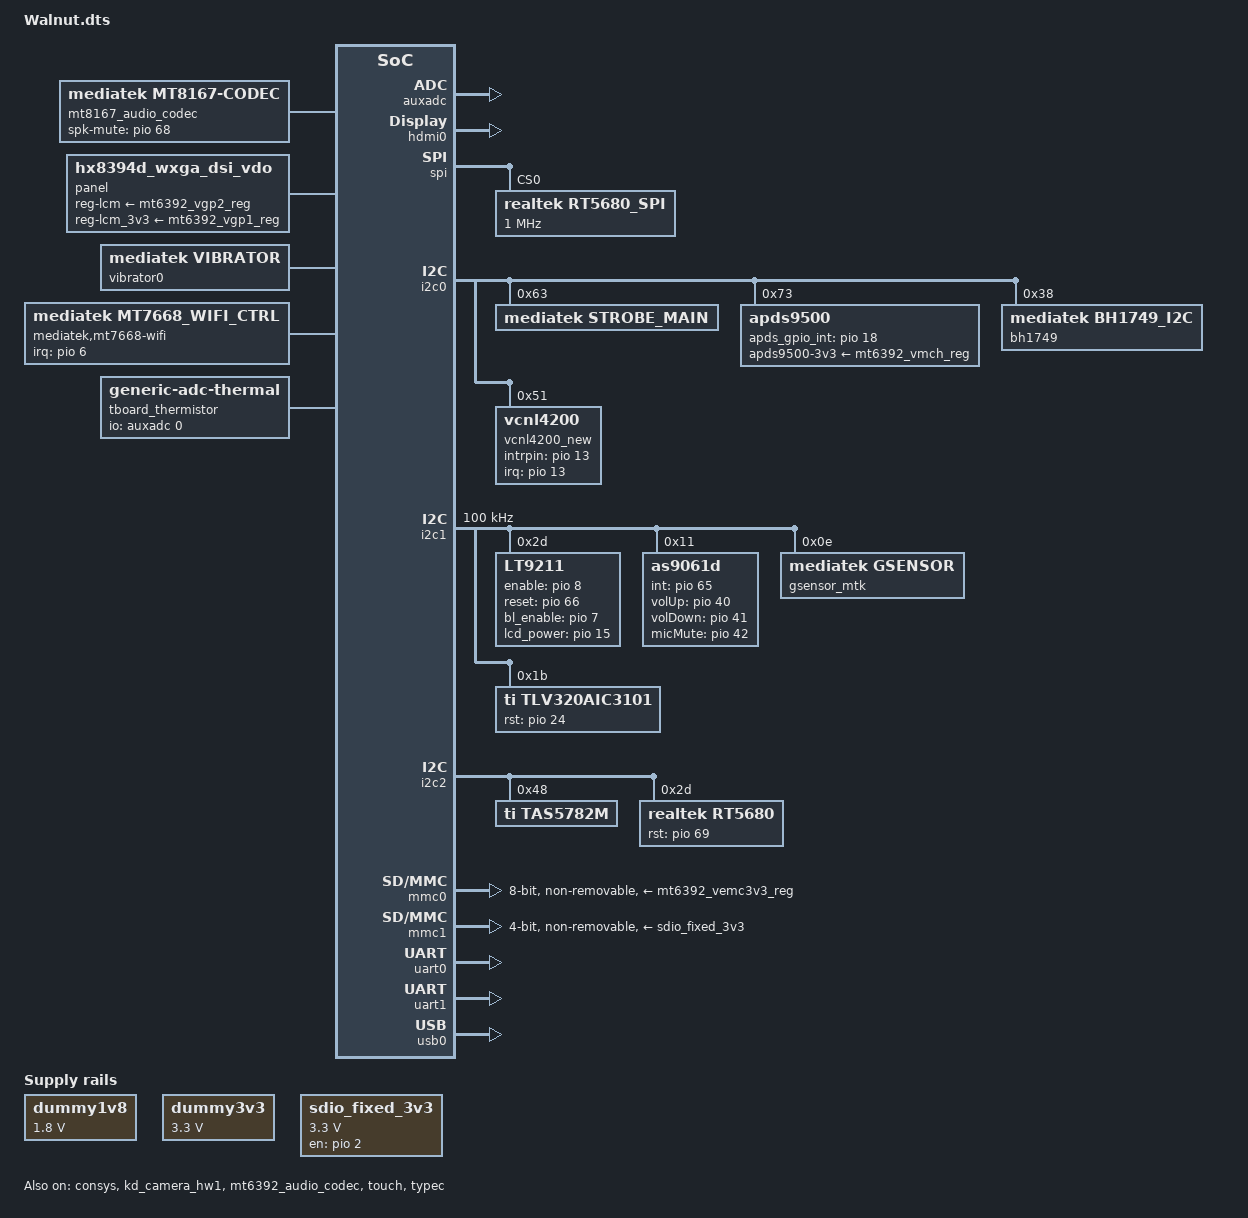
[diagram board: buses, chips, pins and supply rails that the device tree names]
/*
 * Copyright (c) 2014-2015 MediaTek Inc.
 *
 * This program is free software; you can redistribute it and/or modify
 * it under the terms of the GNU General Public License version 2 as
 * published by the Free Software Foundation.
 *
 * This program is distributed in the hope that it will be useful,
 * MERCHANTABILITY or FITNESS FOR A PARTICULAR PURPOSE.  See the
 * GNU General Public License for more details.
 */

#include <generated/autoconf.h>
/dts-v1/;

/plugin/;
#include <dt-bindings/clock/mt8167-clk.h>
#include <dt-bindings/interrupt-controller/irq.h>
#include <dt-bindings/interrupt-controller/arm-gic.h>
#include "mt8167-pinfunc.h"
#include "bat_setting/Walnut_bat_setting.dtsi"
#include <dt-bindings/gpio/gpio.h>
#define ROOT_NODE &odm

ROOT_NODE {
	dummy1v8: fixedregulator@0 {
		compatible = "regulator-fixed";
		regulator-name = "mmc_io";
		regulator-min-microvolt = <1800000>;
		regulator-max-microvolt = <1800000>;
		regulator-always-on;
	};

	dummy3v3: fixedregulator@1 {
		compatible = "regulator-fixed";
		regulator-name = "mmc_power";
		regulator-min-microvolt = <3300000>;
		regulator-max-microvolt = <3300000>;
		regulator-always-on;
	};

	sdio_fixed_3v3: fixedregulator@2 {
		compatible = "regulator-fixed";
		regulator-name = "sdio_fixed_3v3";
		regulator-min-microvolt = <3300000>;
		regulator-max-microvolt = <3300000>;
		gpio = <&pio 2 GPIO_ACTIVE_HIGH>;
		enable-active-high;
		startup-delay-us = <500000>;
	};

	mtcpufreq {
		compatible = "mediatek,mt8167-cpufreq";
	};

	mt8167_audio_codec: mt8167_audio_codec {
		compatible = "mediatek,mt8167-codec";
		clocks = <&topckgen CLK_TOP_AUDIO>;
		clock-names = "bus";
		mediatek,afe-regmap = <&afe>;
		mediatek,apmixedsys-regmap = <&apmixedsys>;
		mediatek,pwrap-regmap = <&pwrap>;
		mediatek,speaker-mode = <0>; /* 0(CLASSD) 1(CLASSAB) */
		mediatek,dmic-wire-mode = <1>;
		/* 0(ONE_WIRE) 1(TWO_WIRE) */
		mediatek,headphone-cap-sel = <1>;/* 0(10UF) 1(22UF) 2(33UF) 3(47UF) */
		spk-mute = <&pio 68 0>;
	};

	panel: panel@0 {
		compatible = "hx8394d_wxga_dsi_vdo";
		reg-lcm-supply = <&mt6392_vgp2_reg>;
		reg-lcm_3v3-supply = <&mt6392_vgp1_reg>;
		status = "okay";
	};

	sound: sound {
		compatible = "mediatek,mt8167s-som";
		mediatek,platform = <&afe>;
		pinctrl-names = "default";
		pinctrl-0 = <&aud_pins_default>;
		tdmadc-1p8v-supply = <&mt6392_vcn18_reg>;
		tdmadc-3p3v-supply = <&mt6392_vmch_reg>;
		mediatek,audio-codec = <&tas5782m>;
		status = "okay";
	};

	vibrator0:vibrator@0 {
		compatible = "mediatek,vibrator";
		vib_timer = <25>;
		vib_limit = <9>;
		vib_vol= <5>;
	};

	/* WiFi */
	mediatek,mt7668-wifi {
		compatible = "mediatek,mt7668_wifi_ctrl";
		interrupt-parent = <&pio>;
		interrupts = <6 IRQ_TYPE_EDGE_FALLING>, /* WOW IRQ */
			<5 IRQ_TYPE_EDGE_FALLING>; /* BEACON TSF IRQ */
		status = "okay";
	};

	tboard_thermistor: thermal-sensor {
		compatible = "generic-adc-thermal";
		#thermal-sensor-cells = <0>;
		io-channels = <&auxadc 0>;
		io-channel-names = "sensor-channel";
	};
};

&afe {
	/* 0(HDMI) 1(I2S) 2(TDM) */
	mediatek,tdm-out-mode = <0>;
	/*0(Spearated Mode) 1(Share Mode)*/
	mediatek,i2s-clock-modes = <1 1>;
	/*overwrite original sram layout*/
	reg = <0 0x11140000 0 0x1000>,
	      <0 0x11141000 0 0x9000>,
	      <0 0x100000 0 0xdc00>;
};

&auxadc {
	status = "okay";
};

&bat_comm {
	interrupt-parent = <&pmic>;
	interrupts = <10 IRQ_TYPE_LEVEL_HIGH>;
};

&consys {
	pinctrl-names = "default", "gps_lna_state_init",
		"gps_lna_state_oh", "gps_lna_state_ol";
	pinctrl-0 = <&consys_pins_default>;
	pinctrl-1 = <&gpslna_pins_init>;
	pinctrl-2 = <&gpslna_pins_oh>;
	pinctrl-3 = <&gpslna_pins_ol>;
	vcn18-supply = <&mt6392_vcn18_reg>;
	vcn35-supply = <&mt6392_vcn35_reg>;
	status = "okay";
};

&cpu0 {
	proc-supply = <&mt6392_vproc_reg>;
};

&cpu1 {
	proc-supply = <&mt6392_vproc_reg>;
};

&cpu2 {
	proc-supply = <&mt6392_vproc_reg>;
};

&cpu3 {
	proc-supply = <&mt6392_vproc_reg>;
};

&hdmi0 {
	pinctrl-names = "default", "hdmi_hpd";
	pinctrl-0 = <&hdmi_pins_default>;
	pinctrl-1 = <&hdmi_pins_hpd>;
	status = "okay";
};

&spi{
	status = "okay";
	
	rt5680_spi@0{   
		compatible = "realtek,rt5680_spi";
		reg = <0>;
		status = "okay";
		spi-max-frequency = <1000000>;
		pinctrl-names = "default";
		pinctrl-0 = <&spi_pins_default>;
	};
};

&i2c0 {
	pinctrl-names = "default";
	pinctrl-0 = <&i2c0_pins_a>;
	status = "okay";

	cap_touch@5d {
		compatible = "mediatek,cap_touch";
		reg = <0x5d>;
		status = "disabled";
		interrupt-parent = <&pio>;
		interrupts = <8 IRQ_TYPE_EDGE_FALLING>;
		int-gpio = <&pio 8 0>;
		rst-gpio = <&pio 9 0>;
	};

	strobe_main@63 {
		compatible = "mediatek,strobe_main";
		reg = <0x63>;
	};
	
	apds9500@73 {
		compatible = "apds9500";
		reg = <0x73>;
		apds_gpio_int = <&pio 18 0>;
		pinctrl-names = "default";
		pinctrl-0 = <&apds9500_int>;
		apds9500-3v3-supply = <&mt6392_vmch_reg>;
	};
	
	bh1749@38{
		compatible = "mediatek,bh1749_i2c";
		reg = <0x38>;
	};
/*	
	vcnl4200@51 {
		compatible = "vcnl4200";
		reg = <0x51>;
		interrupt-parent = <&pio>;
		interrupts = <13 IRQ_TYPE_EDGE_FALLING>;     
		capella,intrpin-gpios = <&pio 13 0>;
		capella,slave_address = <0x51>;
		pinctrl-names = "default";
		pinctrl-0 = <&vcnl4200_int>;

		als_level = <0 328 861 1377 3125 7721 7767 12621 23062 28430 33274 47116 57694 57694 65535>;
		als_value = <0 133 304 502 1004 2005 3058 5005 8008 10010 12000 16000 20000 20000 20000 20000>;
		ps_threshold_high = <26>;
		ps_threshold_low = <21>;
		is_batch_supported_ps = <0>;
		is_batch_supported_als = <0>;
	};
*/
	vcnl4200_new@51{
		compatible = "vcnl4200";
		reg = <0x51>;
		interrupt-parent = <&pio>;
		interrupts = <13 IRQ_TYPE_EDGE_FALLING>;     
		capella,intrpin-gpios = <&pio 13 0>;
		capella,slave_address = <0x51>;
		pinctrl-names = "default";
		pinctrl-0 = <&vcnl4200_int>;

		als_level = <0 328 861 1377 3125 7721 7767 12621 23062 28430 33274 47116 57694 57694 65535>;
		als_value = <0 133 304 502 1004 2005 3058 5005 8008 10010 12000 16000 20000 20000 20000 20000>;
		ps_threshold_high = <26>;
		ps_threshold_low = <21>;
		is_batch_supported_ps = <0>;
		is_batch_supported_als = <0>;
	};

};

&i2c1 {
	pinctrl-names = "default";
	pinctrl-0 = <&i2c1_pins_a>;
	status = "okay";
	clock-frequency = <100000>;
	
	LT9211@0x2d{
		compatible = "LT9211";
		reg = <0x2d>;
		enable_gpio = <&pio 8 0>;
		reset_gpio = <&pio 66 0>;
		bl_enable = <&pio 7 0>;
		lcd_power = <&pio 15 0>;
	};
	
	as9061d@11{
		compatible = "as9061d";
		reg = <0x11>;
		int-gpio      = <&pio 65 0>;
		volUp-gpio    = <&pio 40 0>;
		volDown-gpio  = <&pio 41 0>;
		micMute-gpio  = <&pio 42 0>;
		pinctrl-names = "default","key_volUp","key_volDown","key_micMute";
		pinctrl-0 = <&as9061d_pins_int>;
		pinctrl-1 = <&as9061d_pins_volUp>;
		pinctrl-2 = <&as9061d_pins_volDown>;
		pinctrl-3 = <&as9061d_pins_micMute>;
	};
	
	kd_camera_hw1@36 {
		compatible = "mediatek,camera_main";
		reg = <0x36>;
		status = "disabled";
	};

	kd_camera_hw2@10 {
		compatible = "mediatek,camera_sub";
		reg = <0x10>;
		status = "disabled";
	};

	 camera_main_af@0c {
		compatible = "mediatek,CAMERA_MAIN_AF";
		reg = <0x0c>;
		status = "disabled";
	};

	gsensor_mtk: gsensor@0e {
		compatible = "mediatek,gsensor";
		reg = <0x0e>;
		i2c_num	= <1>;
		i2c_addr = <0x0e 0 0 0>;
		direction = <1>;
		power_id = <0xffff>;
		power_vol = <0>;
		firlen = <0>;
		is_batch_supported = <0>;
	};

	tlv320aic3101@1b{
		compatible = "ti,tlv320aic3101";
		reg = <0x1b>;
		rst-gpio = <&pio 24 0>;
	};
};

&i2c2 {
	pinctrl-names = "default";
	pinctrl-0 = <&i2c2_pins_a>;
	status = "okay";

	tas5782m: tas5782m@48 {
		compatible = "ti,tas5782m";
		reg = <0x48>;
		//rst_gpio = <&pio 107 0>;
		//power_gpio = <&pio 108 0>;
	};
	
	rt5680:rt5680@2d{   
		compatible = "realtek,rt5680";
		reg = <0x2d>;
		rst-gpio = <&pio 69 0>;
	};
};

/* Main Cam */
&kd_camera_hw1 {
	reg-vcama-supply = <&mt6392_vcama_reg>;		/* AVDD */
	reg-vcamd-supply = <&mt6392_vcamd_reg>;		/* DVDD */
	reg-vcamio-supply = <&mt6392_vcamio_reg>;	/* DOVDD */
	reg-vcamaf-supply = <&mt6392_vcamaf_reg>;	/* AFVDD */

	pinctrl-names = "default",
		"cam_mclk", "cam_gpio84", "cam_gpio85",
		"cam_gpio86", "cam_gpio87", "cam_gpio88",  "cam_gpio89";

	pinctrl-0 = <&camera_pins_default>;
	pinctrl-1 = <&camera_pins_cam_mclk>;
	pinctrl-2 = <&camera_pins_gpio84>;
	pinctrl-3 = <&camera_pins_gpio85>;
	pinctrl-4 = <&camera_pins_gpio86>;
	pinctrl-5 = <&camera_pins_gpio87>;
	pinctrl-6 = <&camera_pins_gpio88>;
	pinctrl-7 = <&camera_pins_gpio89>;

	cam0_rst = <&pio 10 0>;
	cam0_pdn = <&pio 7 0>;
	cam1_rst = <&pio 10 0>;
	cam1_pdn = <&pio 7 0>;
	status = "okay";
};

/* Sub Cam */
/* Same power pins as Main, actually, it can be commented */
&kd_camera_hw2 {
	reg-vcama-supply = <&mt6392_vcama_reg>;		/* AVDD */
	reg-vcamd-supply = <&mt6392_vcamd_reg>;		/* DVDD */
	reg-vcamio-supply = <&mt6392_vcamio_reg>;	/* DOVDD */
	reg-vcamaf-supply = <&mt6392_vcamaf_reg>;	/* AFVDD */
};

&keypad {
	pinctrl-names = "default";
	pinctrl-0 = <&kpd_pins_default>;
	status = "disabled";
	mediatek,kpd-key-debounce = <1024>;
	mediatek,kpd-sw-pwrkey = <116>;
	mediatek,kpd-hw-pwrkey = <8>;
	mediatek,kpd-sw-rstkey  = <0>;
	mediatek,kpd-hw-rstkey = <17>;
	mediatek,kpd-use-extend-type = <0>;
	/*HW Keycode [0~71] -> Linux Keycode*/
	mediatek,kpd-hw-map-num = <72>;
	mediatek,kpd-hw-init-map = <115 50 0 0 0 0 0 0 0 30 164
		0 0 0 0 0 0 0 0 0 0 0 0 0 0 0 0 0 0 0 0 0 0 0 0 0 0
		0 0 0 0 0 0 0 0 0 0 0 0 0 0 0 0 0 0 0 0 0 0 0 0 0 0
		0 0 0 0 0 0 0 0 0 >;
	mediatek,kpd-pwrkey-eint-gpio = <0>;
	mediatek,kpd-pwkey-gpio-din  = <0>;
	mediatek,kpd-hw-dl-key0 = <0>;
	mediatek,kpd-hw-dl-key1 = <17>;
	mediatek,kpd-hw-dl-key2 = <8>;
	mediatek,kpd-hw-recovery-key = <17>;
	mediatek,kpd-hw-factory-key  = <0>;
};

&led6 {
	ate_gpio = <&pio 43 0>;
};

&mmc0 {
	pinctrl-names = "default", "state_uhs";
	pinctrl-0 = <&mmc0_pins_default>;
	pinctrl-1 = <&mmc0_pins_uhs>;
	status = "okay";
	bus-width = <8>;
	max-frequency = <200000000>;
	cap-mmc-highspeed;
	mmc-hs200-1_8v;
	cap-mmc-hw-reset;
	vmmc-supply = <&mt6392_vemc3v3_reg>;
	vqmmc-supply = <&mt6392_vio18_reg>;
	non-removable;
};

&mmc1 {
	compatible = "mediatek,mt8167-sdio";
	pinctrl-names = "state_eint", "default",
		"state_uhs", "state_dat1";
	pinctrl-0 = <&mmc1_pins_eint>;
	pinctrl-1 = <&mmc1_pins_default>;
	pinctrl-2 = <&mmc1_pins_uhs>;
	pinctrl-3 = <&mmc1_pins_dat1>;
	eint-gpios = <&pio 107 0>;
	status = "okay";
	bus-width = <4>;
	max-frequency = <200000000>;
	cap-sd-highspeed;
	sd-uhs-sdr50;
	sd-uhs-sdr104;
	keep-power-in-suspend;
	enable-sdio-wakeup;
	vmmc-supply = <&sdio_fixed_3v3>;
	vqmmc-supply = <&mt6392_vcn18_reg>;
	cap-sdio-irq;
	non-removable;
	//mt76x8_pmu_en_gpio = <&pio 2 0>;
	//mt76x8_pmu_en_delay = <5>; /* ms */
};


&mmc2 {
	pinctrl-names = "state_eint", "default",
		"state_uhs", "state_dat1";
	pinctrl-0 = <&mmc2_pins_eint>;
	pinctrl-1 = <&mmc2_pins_default>;
	pinctrl-2 = <&mmc2_pins_uhs>;
	pinctrl-3 = <&mmc2_pins_dat1>;
	eint-gpios = <&pio 71 0>;
	status = "disabled";
	bus-width = <4>;
	max-frequency = <200000000>;
	cap-sd-highspeed;
	sd-uhs-sdr50;
	sd-uhs-sdr104;
	keep-power-in-suspend;
	enable-sdio-wakeup;
	vmmc-supply = <&sdio_fixed_3v3>;
	cap-sdio-irq;
	non-removable;
	mt76x8_pmu_en_gpio = <&pio 2 0>;
	mt76x8_pmu_en_delay = <5>; /* ms */
};

&mt6392_audio_codec {
	mediatek,speaker-mode = <0>; /* 0(CLASSD) 1(CLASSAB) */
	status = "okay";
};

&mt6392_vm_reg {
	regulator-always-on;
	regulator-boot-on;
};

&pio {
	pinctrl-names = "default";
	pinctrl-0 = <&state_default>;

	state_default:pinconf_default {
	};

	aud_pins_default: audiodefault {
		pins_cmd_dat {
			pinmux = <MT8167_PIN_25_EINT25__FUNC_I2S_8CH_MCK>,
				 <MT8167_PIN_71_MSDC2_DAT1__FUNC_I2S_8CH_DO1>, 
				 <MT8167_PIN_72_MSDC2_DAT2__FUNC_I2S_8CH_LRCK>, 
				 <MT8167_PIN_73_MSDC2_DAT3__FUNC_I2S_8CH_BCK>, 
				 <MT8167_PIN_20_EINT20__FUNC_I2S3_DO>,
                                 <MT8167_PIN_36_MRG_CLK__FUNC_I2S0_BCK>,
                                 <MT8167_PIN_37_MRG_SYNC__FUNC_I2S0_LRCK>,
                                 <MT8167_PIN_38_MRG_DI__FUNC_I2S0_DI>,
                                 <MT8167_PIN_39_MRG_DO__FUNC_I2S0_MCK>,
				 <MT8167_PIN_1_EINT1__FUNC_I2S2_DI>;
				 drive-strength = <MTK_DRIVE_4mA>;
		};
	};
	
	spi_pins_default: rt5680default {
		pins_cmd_dat {
			pinmux = <MT8167_PIN_48_SPI_CS__FUNC_SPI_CSB>,
				 <MT8167_PIN_49_SPI_CK__FUNC_SPI_CLK>, 
				 <MT8167_PIN_50_SPI_MI__FUNC_SPI_MI>, 
				 <MT8167_PIN_51_SPI_MO__FUNC_SPI_MO>;	 
		};
	};

	/* CAMERA GPIO standardization */
	/* default mode */
	camera_pins_default: camdefault {
		pins_cmd_dat {
			pinmux = <MT8167_PIN_84_RDN0__FUNC_RDN0>,
				<MT8167_PIN_85_RDP0__FUNC_RDP0>,
				<MT8167_PIN_86_RDN1__FUNC_RDN1>,
				<MT8167_PIN_87_RDP1__FUNC_RDP1>,
				<MT8167_PIN_88_RCN__FUNC_RCN>,
				<MT8167_PIN_89_RCP__FUNC_RCP>;
		};
	};

	camera_pins_cam_mclk: cam_pin_mclk {
		pins_cmd_dat {
			pinmux = <MT8167_PIN_102_CMMCLK__FUNC_CMMCLK>;
		};
	};

	camera_pins_gpio88: cam_pin_gpio88 {
		pins_cmd_dat {
			pinmux = <MT8167_PIN_88_RCN__FUNC_RCN>;
		};
	};

	camera_pins_gpio89: cam_pin_gpio89 {
		pins_cmd_dat {
			pinmux = <MT8167_PIN_89_RCP__FUNC_RCP>;
		};
	};

	camera_pins_gpio86: cam_pin_gpio86 {
		pins_cmd_dat {
			pinmux = <MT8167_PIN_86_RDN1__FUNC_RDN1>;
		};
	};

	camera_pins_gpio87: cam_pin_gpio87 {
		pins_cmd_dat {
			pinmux = <MT8167_PIN_87_RDP1__FUNC_RDP1>;
		};
	};

	camera_pins_gpio84: cam_pin_gpio84 {
		pins_cmd_dat {
			pinmux = <MT8167_PIN_84_RDN0__FUNC_RDN0>;
		};
	};

	camera_pins_gpio85: cam_pin_gpio85 {
		pins_cmd_dat {
			pinmux = <MT8167_PIN_85_RDP0__FUNC_RDP0>;
		};
	};

	/* CONSYS GPIO Settings - Start */
	consys_pins_default: default {

	};
	/* CONSYS GPIO Settings - End */

	CTP_pins_default: eint0default {
		pins_cmd_dat {
			pinmux = <MT8167_PIN_8_EINT8__FUNC_GPIO8>;
			slew-rate = <0>;
			bias-disable;
		};
	};

	CTP_pins_eint_as_int: eint@0 {
		pins_cmd_dat {
			pinmux = <MT8167_PIN_8_EINT8__FUNC_GPIO8>;
			slew-rate = <0>;
			bias-disable;
		};
	};

	CTP_pins_eint_output0: eintoutput0 {
		pins_cmd_dat {
			pinmux = <MT8167_PIN_8_EINT8__FUNC_GPIO8>;
			slew-rate = <1>;
			output-low;
		};
	};

	CTP_pins_eint_output1: eintoutput1 {
		pins_cmd_dat {
			pinmux = <MT8167_PIN_8_EINT8__FUNC_GPIO8>;
			slew-rate = <1>;
			output-high;
		};
	};

	CTP_pins_rst_output0: rstoutput0 {
		pins_cmd_dat {
			pinmux = <MT8167_PIN_9_EINT9__FUNC_GPIO9>;
			slew-rate = <1>;
			output-low;
		};
	};

	CTP_pins_rst_output1: rstoutput1 {
		pins_cmd_dat {
			pinmux = <MT8167_PIN_9_EINT9__FUNC_GPIO9>;
			slew-rate = <1>;
			output-high;
		};
	};

	/* CONSYS GPIO Settings - Start */
	gpslna_pins_init: gpslna@0 {
	};

	gpslna_pins_oh: gpslna@1 {
	};

	gpslna_pins_ol: gpslna@2 {
	};
	/* CONSYS GPIO Settings - End */

	hdmi_pins_default: hdmi_pins_default {
		pins_cmd_dat {
			pinmux = <MT8167_PIN_123_HDMISCK__FUNC_HDMISCK>,
				<MT8167_PIN_124_HDMISD__FUNC_HDMISD>;
		};
	};

	hdmi_pins_hpd: hdmi_pins_hpd {
		pins_cmd_dat {
			pinmux = <MT8167_PIN_122_HTPLG__FUNC_HTPLG>;
			slew-rate = <0>;
			bias-pull-down;
		};
	};

	i2c0_pins_a: i2c0@0 {
		pins1 {
			pinmux = <MT8167_PIN_58_SDA0__FUNC_SDA0_0>,
				 <MT8167_PIN_59_SCL0__FUNC_SCL0_0>;
			bias-disable;
		};
	};

	i2c1_pins_a: i2c1@0 {
		pins1 {
			pinmux = <MT8167_PIN_52_SDA1__FUNC_SDA1_0>,
				 <MT8167_PIN_53_SCL1__FUNC_SCL1_0>;
			bias-disable;
		};
	};

	i2c2_pins_a: i2c2@0 {
		pins1 {
			pinmux = <MT8167_PIN_60_SDA2__FUNC_SDA2_0>,
				 <MT8167_PIN_61_SCL2__FUNC_SCL2_0>;
			bias-disable;
		};
	};

	kpd_pins_default: kpddefault {
		pins_cols {
			pinmux = <MT8167_PIN_42_KPCOL0__FUNC_KPCOL0>,
				 <MT8167_PIN_43_KPCOL1__FUNC_KPCOL1>;
			input-enable;
			bias-pull-up = <MTK_PUPD_SET_R1R0_01>;
		};

		pins_rows {
			pinmux = <MT8167_PIN_40_KPROW0__FUNC_KPROW0>,
				 <MT8167_PIN_41_KPROW1__FUNC_KPROW1>;
			output-low;
			bias-disable;
		};
	};

	dpi_pins_default: dpi_pins_default {
		pins_cmd_dat {
			pinmux = <MT8167_PIN_0_EINT0__FUNC_DPI_CK>,
			<MT8167_PIN_24_EINT24__FUNC_DPI_DE>,
			<MT8167_PIN_25_EINT25__FUNC_DPI_VSYNC>,
			<MT8167_PIN_35_UTXD2__FUNC_DPI_HSYNC>,
			<MT8167_PIN_13_EINT13__FUNC_DPI_D0>,
			<MT8167_PIN_34_URXD2__FUNC_DPI_D5>,
			<MT8167_PIN_7_EINT7__FUNC_DPI_D6>,
			<MT8167_PIN_8_EINT8__FUNC_DPI_D7>,
			<MT8167_PIN_9_EINT9__FUNC_DPI_D8>,
			<MT8167_PIN_10_EINT10__FUNC_DPI_D9>,
			//<MT8167_PIN_11_EINT11__FUNC_DPI_D10>,
			<MT8167_PIN_12_EINT12__FUNC_DPI_D11>,
			<MT8167_PIN_1_EINT1__FUNC_DPI_D12>,
			//<MT8167_PIN_2_EINT2__FUNC_DPI_D13>,
			//<MT8167_PIN_3_EINT3__FUNC_DPI_D14>,
			<MT8167_PIN_4_EINT4__FUNC_DPI_D15>,
			<MT8167_PIN_5_EINT5__FUNC_DPI_D16>,
			<MT8167_PIN_6_EINT6__FUNC_DPI_D17>;
			drive-strength = <MTK_DRIVE_8mA>;
		};
	};

	mmc0_pins_default: mmc0default {
		pins_cmd_dat {
			pinmux = <MT8167_PIN_120_MSDC0_DAT0__FUNC_MSDC0_DAT0>,
				<MT8167_PIN_119_MSDC0_DAT1__FUNC_MSDC0_DAT1>,
				<MT8167_PIN_118_MSDC0_DAT2__FUNC_MSDC0_DAT2>,
				<MT8167_PIN_117_MSDC0_DAT3__FUNC_MSDC0_DAT3>,
				<MT8167_PIN_113_MSDC0_DAT4__FUNC_MSDC0_DAT4>,
				<MT8167_PIN_112_MSDC0_DAT5__FUNC_MSDC0_DAT5>,
				<MT8167_PIN_111_MSDC0_DAT6__FUNC_MSDC0_DAT6>,
				<MT8167_PIN_110_MSDC0_DAT7__FUNC_MSDC0_DAT7>,
				<MT8167_PIN_115_MSDC0_CMD__FUNC_MSDC0_CMD>;
			input-enable;
			bias-pull-up;
		};

		pins_clk {
			pinmux = <MT8167_PIN_116_MSDC0_CLK__FUNC_MSDC0_CLK>;
			bias-pull-down;
		};

		pins_rst {
			pinmux = <MT8167_PIN_114_MSDC0_RSTB__FUNC_MSDC0_RSTB>;
			bias-pull-up;
		};
	};

	mmc0_pins_uhs: mmc0@0{
		pins_cmd_dat {
			pinmux = <MT8167_PIN_120_MSDC0_DAT0__FUNC_MSDC0_DAT0>,
				<MT8167_PIN_119_MSDC0_DAT1__FUNC_MSDC0_DAT1>,
				<MT8167_PIN_118_MSDC0_DAT2__FUNC_MSDC0_DAT2>,
				<MT8167_PIN_117_MSDC0_DAT3__FUNC_MSDC0_DAT3>,
				<MT8167_PIN_113_MSDC0_DAT4__FUNC_MSDC0_DAT4>,
				<MT8167_PIN_112_MSDC0_DAT5__FUNC_MSDC0_DAT5>,
				<MT8167_PIN_111_MSDC0_DAT6__FUNC_MSDC0_DAT6>,
				<MT8167_PIN_110_MSDC0_DAT7__FUNC_MSDC0_DAT7>,
				<MT8167_PIN_115_MSDC0_CMD__FUNC_MSDC0_CMD>;
			input-enable;
			drive-strength = <MTK_DRIVE_6mA>;
			bias-pull-up = <MTK_PUPD_SET_R1R0_01>;
		};

		pins_clk {
			pinmux = <MT8167_PIN_116_MSDC0_CLK__FUNC_MSDC0_CLK>;
			drive-strength = <MTK_DRIVE_8mA>;
			bias-pull-down = <MTK_PUPD_SET_R1R0_10>;
		};

		pins_rst {
			pinmux = <MT8167_PIN_114_MSDC0_RSTB__FUNC_MSDC0_RSTB>;
			bias-pull-up;
		};
	};


	mmc1_pins_eint: dat1_eint {
		pins_dat1 {
			pinmux = <MT8167_PIN_107_MSDC1_DAT1__FUNC_MSDC1_DAT1>;
			input-enable;
			bias-pull-up = <MTK_PUPD_SET_R1R0_10>;
		};
	};

	mmc1_pins_default: mmc1default {
		pins_cmd_dat {
			pinmux = <MT8167_PIN_106_MSDC1_DAT0__FUNC_MSDC1_DAT0>,
			       <MT8167_PIN_107_MSDC1_DAT1__FUNC_MSDC1_DAT1>,
			       <MT8167_PIN_108_MSDC1_DAT2__FUNC_MSDC1_DAT2>,
			       <MT8167_PIN_109_MSDC1_DAT3__FUNC_MSDC1_DAT3>,
			       <MT8167_PIN_104_MSDC1_CMD__FUNC_MSDC1_CMD>;
			input-enable;
			drive-strength = <MTK_DRIVE_6mA>;
			bias-pull-up = <MTK_PUPD_SET_R1R0_01>;
		};

		pins_clk {
			pinmux = <MT8167_PIN_105_MSDC1_CLK__FUNC_MSDC1_CLK>;
			drive-strength = <MTK_DRIVE_6mA>;
			bias-pull-down = <MTK_PUPD_SET_R1R0_10>;
		};
		
		pins_wifi_en {
			pinmux = <MT8167_PIN_3_EINT3__FUNC_GPIO3>;
			slew-rate = <1>;
			output-high;
		};
		
		pin_pcmout {
			pinmux = <MT8167_PIN_38_MRG_DI__FUNC_GPIO38>;
			slew-rate = <1>;
			output-low;
		};
		
	};

	mmc1_pins_uhs: mmc1@0 {
		pins_cmd_dat {
			pinmux = <MT8167_PIN_106_MSDC1_DAT0__FUNC_MSDC1_DAT0>,
			       <MT8167_PIN_107_MSDC1_DAT1__FUNC_MSDC1_DAT1>,
			       <MT8167_PIN_108_MSDC1_DAT2__FUNC_MSDC1_DAT2>,
			       <MT8167_PIN_109_MSDC1_DAT3__FUNC_MSDC1_DAT3>,
			       <MT8167_PIN_104_MSDC1_CMD__FUNC_MSDC1_CMD>;
			input-enable;
			drive-strength = <MTK_DRIVE_6mA>;
			bias-pull-up = <MTK_PUPD_SET_R1R0_01>;
		};

		pins_clk {
			pinmux = <MT8167_PIN_105_MSDC1_CLK__FUNC_MSDC1_CLK>;
			drive-strength = <MTK_DRIVE_8mA>;
			bias-pull-down = <MTK_PUPD_SET_R1R0_10>;
		};
		
		pin_pcmout {
			pinmux = <MT8167_PIN_38_MRG_DI__FUNC_GPIO38>;
			slew-rate = <1>;
			output-low;
		};
	};

	mmc1_pins_dat1: mmc1_dat1 {
		pins_dat1 {
			pinmux = <MT8167_PIN_107_MSDC1_DAT1__FUNC_MSDC1_DAT1>;
			input-enable;
			drive-strength = <MTK_DRIVE_8mA>;
			bias-pull-up = <MTK_PUPD_SET_R1R0_10>;
		};
	};
	
	
	mmc2_pins_eint: dat2_eint {
		pins_dat1 {
			pinmux = <MT8167_PIN_71_MSDC2_DAT1__FUNC_GPIO71>;
			input-enable;
			bias-pull-up = <MTK_PUPD_SET_R1R0_10>;
		};
	};

	mmc2_pins_default: mmc2default {
		pins_cmd_dat {
			pinmux = <MT8167_PIN_70_MSDC2_DAT0__FUNC_MSDC2_DAT0>,
			       <MT8167_PIN_71_MSDC2_DAT1__FUNC_MSDC2_DAT1>,
			       <MT8167_PIN_72_MSDC2_DAT2__FUNC_MSDC2_DAT2>,
			       <MT8167_PIN_73_MSDC2_DAT3__FUNC_MSDC2_DAT3>,
			       <MT8167_PIN_68_MSDC2_CMD__FUNC_MSDC2_CMD>;
			input-enable;
			drive-strength = <MTK_DRIVE_6mA>;
			bias-pull-up = <MTK_PUPD_SET_R1R0_01>;
		};

		pins_clk {
			pinmux = <MT8167_PIN_69_MSDC2_CLK__FUNC_MSDC2_CLK>;
			drive-strength = <MTK_DRIVE_6mA>;
			bias-pull-down = <MTK_PUPD_SET_R1R0_10>;
		};
	};

	mmc2_pins_uhs: mmc2@0 {
		pins_cmd_dat {
			pinmux = <MT8167_PIN_70_MSDC2_DAT0__FUNC_MSDC2_DAT0>,
			       <MT8167_PIN_71_MSDC2_DAT1__FUNC_MSDC2_DAT1>,
			       <MT8167_PIN_72_MSDC2_DAT2__FUNC_MSDC2_DAT2>,
			       <MT8167_PIN_73_MSDC2_DAT3__FUNC_MSDC2_DAT3>,
			       <MT8167_PIN_68_MSDC2_CMD__FUNC_MSDC2_CMD>;
			input-enable;
			drive-strength = <MTK_DRIVE_6mA>;
			bias-pull-up = <MTK_PUPD_SET_R1R0_01>;
		};

		pins_clk {
			pinmux = <MT8167_PIN_69_MSDC2_CLK__FUNC_MSDC2_CLK>;
			drive-strength = <MTK_DRIVE_8mA>;
			bias-pull-down = <MTK_PUPD_SET_R1R0_10>;
		};
	};

	mmc2_pins_dat1: mmc2_dat1 {
		pins_dat1 {
			pinmux = <MT8167_PIN_71_MSDC2_DAT1__FUNC_MSDC2_DAT1>;
			input-enable;
			drive-strength = <MTK_DRIVE_8mA>;
			bias-pull-up = <MTK_PUPD_SET_R1R0_10>;
		};
	};

/* USB GPIO start */
	usb0_drvvbus: drvvbus_init {
		pins_cmd_dat {
			pinmux = <MT8167_PIN_14_EINT14__FUNC_GPIO14>;
			output-low;
		};
	};

	usb0_drvvbus_high: drvvbus_high {
		pins_cmd_dat {
			pinmux = <MT8167_PIN_14_EINT14__FUNC_GPIO14>;
			slew-rate = <1>;
			output-high;
		};
	};

	usb0_drvvbus_low: drvvbus_low {
		pins_cmd_dat {
			pinmux = <MT8167_PIN_14_EINT14__FUNC_GPIO14>;
			slew-rate = <1>;
			output-low;
		};
	};

	usb0_iddig: iddig_irq_init {
		pins_cmd_dat {
			pinmux = <MT8167_PIN_17_EINT17__FUNC_IDDIG>;
			slew-rate = <0>;
			bias-pull-up = <00>;
		};
	};

#if defined(CONFIG_TCPC_MT6392_VBUS_GPIO)
	usb0_vbus_detect: vbus_detect_irq_init {
		pins_cmd_dat {
			pinmux = <MT8167_PIN_11_EINT11__FUNC_GPIO11>;
			bias-disable;
		};
	};
#endif

/* USB GPIO end */

	apds9500_int:irq_init{
		pins_cmd_dat{
			pinmux = <MT8167_PIN_18_EINT18__FUNC_GPIO18>;
			slew-rate = <0>;
			bias-pull-up = <00>;
		};	     
	};

	as9061d_pins_int:touch_irq_init{
		pins_cmd_dat{
			pinmux = <MT8167_PIN_65_UTXD1__FUNC_GPIO65>;
			slew-rate = <0>;
			bias-pull-up = <00>;
		};	     
	};
	
	as9061d_pins_volUp:touch_volUp_init{
		pins_cmd_dat{
			pinmux = <MT8167_PIN_40_KPROW0__FUNC_GPIO40>;
			slew-rate = <0>;
			bias-pull-up = <00>;
		};	     
	};
	
	as9061d_pins_volDown:touch_volDown_init{
		pins_cmd_dat{
			pinmux = <MT8167_PIN_41_KPROW1__FUNC_GPIO41>;
			slew-rate = <0>;
			bias-pull-up = <00>;
		};	     
	};
	
	as9061d_pins_micMute:touch_micMute_init{
		pins_cmd_dat{
			pinmux = <MT8167_PIN_42_KPCOL0__FUNC_GPIO42>;
			slew-rate = <0>;
			bias-pull-up = <00>;
		};    
	};
	
	vcnl4200_int:alsp_irq_init{
		pins_cmd_dat{
			pinmux = <MT8167_PIN_13_EINT13__FUNC_GPIO13>;
			slew-rate = <0>;
			bias-pull-up = <00>;
		};	     
	}; 
};

&pmic {
	interrupt-parent = <&pio>;
	interrupts = <28 IRQ_TYPE_LEVEL_HIGH>;
	interrupt-controller;
	#interrupt-cells = <2>;
};

&mt6392_vio28_reg {
	/delete-property/ regulator-boot-on;
	/delete-property/ regulator-always-on;
};

&ptp_od {
	vproc-supply = <&mt6392_vproc_reg>;
	vcore-supply = <&mt6392_vcore_reg>;
};

&reserved_memory {
	#address-cells = <2>;
	#size-cells = <2>;
	ranges;

	consys-reserve-memory {
		compatible = "mediatek,consys-reserve-memory";
		no-map;
		size = <0 0x200000>;
		alignment = <0 0x200000>;
	};
};

&touch {
	vtouch-supply = <&mt6392_vmc_reg>;
	tpd-resolution = <720 1280>;
	use-tpd-button = <0>;
	tpd-key-num = <4>;
	tpd-key-local= <139 172 158 0>;
	tpd-key-dim-local = <60 850 50 30 180 850 50 30 300
		850 50 30 420 850 50 30>;
	tpd-max-touch-num = <5>;
	tpd-filter-enable = <1>;
	tpd-filter-pixel-density = <124>;
	tpd-filter-custom-prameters = <0 0 0 0 0 0 0 0 0 0 0 0>;
	tpd-filter-custom-speed = <0 0 0>;
	pinctrl-names = "default", "state_eint_as_int",
		"state_eint_output0", "state_eint_output1",
		"state_rst_output0", "state_rst_output1";
	pinctrl-0 = <&CTP_pins_default>;
	pinctrl-1 = <&CTP_pins_eint_as_int>;
	pinctrl-2 = <&CTP_pins_eint_output0>;
	pinctrl-3 = <&CTP_pins_eint_output1>;
	pinctrl-4 = <&CTP_pins_rst_output0>;
	pinctrl-5 = <&CTP_pins_rst_output1>;
	status = "okay";
};

#if defined(CONFIG_TCPC_MT6392_VBUS_GPIO)
&typec {
	pinctrl-names = "drvvbus_init", "drvvbus_low", "drvvbus_high", "typec_vbus_monitor_init";
	pinctrl-0 = <&usb0_drvvbus>;
	pinctrl-1 = <&usb0_drvvbus_low>;
	pinctrl-2 = <&usb0_drvvbus_high>;
	pinctrl-3 = <&usb0_vbus_detect>;
	status = "okay";
	typec_vbus_monitor_gpio = <&pio 11 0>;
};
#else
&typec {
	pinctrl-names = "drvvbus_init", "drvvbus_low", "drvvbus_high";
	pinctrl-0 = <&usb0_drvvbus>;
	pinctrl-1 = <&usb0_drvvbus_low>;
	pinctrl-2 = <&usb0_drvvbus_high>;
	status = "okay";
};
#endif

&uart0 {
	status="okay";
};

&uart1 {
	status="okay";
};

&usb0 {
#if defined(CONFIG_TCPC_MT6392)
	pinctrl-names = "iddig_irq_init", "drvvbus_init", "drvvbus_low", "drvvbus_high";
	pinctrl-0 = <&usb0_iddig>;
	pinctrl-1 = <&usb0_drvvbus>;
	pinctrl-2 = <&usb0_drvvbus_low>;
	pinctrl-3 = <&usb0_drvvbus_high>;
	drvvbus_gpio = <&pio 14 0>;
#endif
	status = "okay";
};
